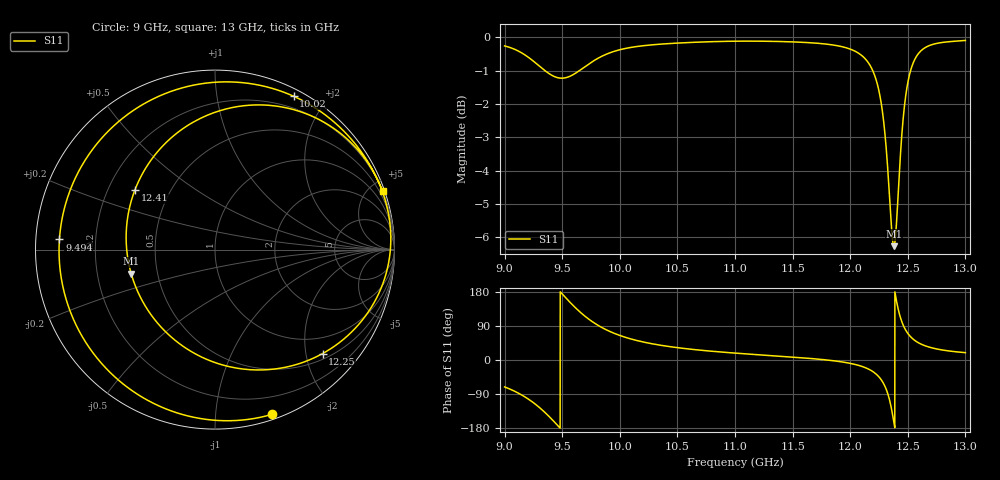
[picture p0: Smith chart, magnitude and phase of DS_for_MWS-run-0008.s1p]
! TOUCHSTONE file generated by CST DESIGN STUDIO
! Date and time: Tue Feb  4 12:51:37 2025
! Project name: C:\Work\MatlabApps\UnitCellOptimizationMatlab\CST\unitcell.cst
! Tree item: Tasks\Sweep1\SPara1\S-Parameters
! Header version: 2024
! Port assignment regex: !\s*Touchstone port\s*([0-9]+)\s*=\s*(CST MWS port|CST DES external port|CST DES block port)\s*(.+)\s* \(\"(.*)\"\)(\s*mode\s*([0-9]+))?.*
! Touchstone port assignment:
! Touchstone port 1 = CST DES external port 1 ("")
# GHz S MA R 50
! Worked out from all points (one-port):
!   4001 points, 9 GHz to 13 GHz, reference 50 ohm
!   lowest |S11| = -6.3 dB at 12.38 GHz (marker M1), VSWR 2.89, Z = 17.6 - j6.21 ohm
!   |S11| at or under -10 dB: nowhere
!   S11 on the Smith chart (normalised r, x): 9 GHz: 0.04, -1.40; 9.494 GHz: 0.07, +0.03; 10.02 GHz: 0.07, +1.63; 12.25 GHz: 0.62, -2.34; 12.41 GHz: 0.31, +0.30; 13 GHz: 0.18, +5.86
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9  0.9712 -71.0
9.153  0.947 -93.1
9.267  0.9164 -116.6
9.397  0.88 -152.4
9.494  0.8687 176.3
9.5  0.8687 174.3
9.615  0.8836 137.9
9.717  0.909 110.9
9.834  0.9353 87.4
10  0.9585 64.8
10.018  0.9602 62.9
10.224  0.9728 46.2
10.5  0.9808 32.6
11  0.9872 18.2
11.5  0.9849 7.7
12  0.9606 -8.9
12.156  0.9172 -23.5
12.248  0.8337 -44.0
12.287  0.7568 -60.6
12.325  0.6381 -87.7
12.351  0.5418 -117.7
12.379  0.4858 -163.9
12.41  0.5557 143.6
12.451  0.7248 98.7
12.5  0.8551 70.2
12.565  0.9301 50.7
12.653  0.9661 37.2
13  0.9898 19.4
